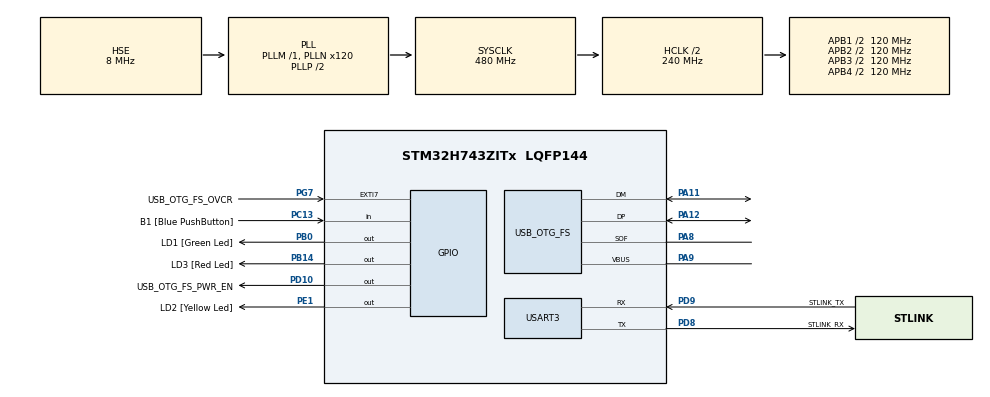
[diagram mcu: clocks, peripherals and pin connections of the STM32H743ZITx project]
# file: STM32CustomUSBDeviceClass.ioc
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FREERTOS.Tasks01=defaultTask,24,256,StartDefaultTask,Default,NULL,Dynamic,NULL,NULL;invertAsciiTask,40,768,StartInvertAsciiTask,Default,NULL,Dynamic,NULL,NULL
FREERTOS.configENABLE_BACKWARD_COMPATIBILITY=0
Mcu.Family=STM32H7
Mcu.Name=STM32H743ZITx
Mcu.Package=LQFP144
NVIC.OTG_FS_IRQn=true\:5\:0\:false\:false\:true\:true\:true\:true
NVIC.PriorityGroup=NVIC_PRIORITYGROUP_4
NVIC.TIM17_IRQn=true\:0\:0\:false\:false\:true\:false\:false\:true
NVIC.TimeBase=TIM17_IRQn
NVIC.TimeBaseIP=TIM17
PA11.Mode=Device_Only
PA11.Signal=USB_OTG_FS_DM
PA12.Mode=Device_Only
PA12.Signal=USB_OTG_FS_DP
PA13\ (JTMS/SWDIO).Mode=Trace_Asynchronous_SW
PA13\ (JTMS/SWDIO).Signal=DEBUG_JTMS-SWDIO
PA14\ (JTCK/SWCLK).Mode=Trace_Asynchronous_SW
PA14\ (JTCK/SWCLK).Signal=DEBUG_JTCK-SWCLK
PA8.Mode=Activate_SOF_FS
PA8.Signal=USB_OTG_FS_SOF
PA9.Mode=Activate_VBUS
PA9.Signal=USB_OTG_FS_VBUS
PB0.GPIO_Label=LD1 [Green Led]
PB0.Signal=GPIO_Output
PB14.GPIO_Label=LD3 [Red Led]
PB14.Signal=GPIO_Output
PB3\ (JTDO/TRACESWO).Mode=Trace_Asynchronous_SW
PB3\ (JTDO/TRACESWO).Signal=DEBUG_JTDO-SWO
PC13.GPIO_Label=B1 [Blue PushButton]
PC13.Signal=GPIO_Input
PD10.GPIO_Label=USB_OTG_FS_PWR_EN
PD10.Signal=GPIO_Output
PD8.GPIO_Label=STLINK_RX
PD8.Mode=Asynchronous
PD8.Signal=USART3_TX
PD9.GPIO_Label=STLINK_TX
PD9.Mode=Asynchronous
PD9.Signal=USART3_RX
PE1.GPIO_Label=LD2 [Yellow Led]
PE1.Signal=GPIO_Output
PG7.GPIO_Label=USB_OTG_FS_OVCR
PG7.Signal=GPXTI7
PH0-OSC_IN\ (PH0).Mode=HSE-External-Clock-Source
PH0-OSC_IN\ (PH0).Signal=RCC_OSC_IN
PH1-OSC_OUT\ (PH1).Mode=HSE-External-Clock-Source
PH1-OSC_OUT\ (PH1).Signal=RCC_OSC_OUT
ProjectManager.HeapSize=0x200
ProjectManager.StackSize=0x400
ProjectManager.TargetToolchain=STM32CubeIDE
RCC.ADCFreq_Value=16125000
RCC.APB1Freq_Value=120000000
RCC.APB2Freq_Value=120000000
RCC.APB3Freq_Value=120000000
RCC.APB4Freq_Value=120000000
RCC.CortexFreq_Value=480000000
RCC.D1PPRE=RCC_APB3_DIV2
RCC.D2PPRE1=RCC_APB1_DIV2
RCC.D2PPRE2=RCC_APB2_DIV2
RCC.D3PPRE=RCC_APB4_DIV2
RCC.DIVM1=1
RCC.DIVN1=120
RCC.DIVQ1=20
RCC.DIVR1=1
RCC.HCLKFreq_Value=240000000
RCC.HPRE=RCC_HCLK_DIV2
RCC.HSE_VALUE=8000000
RCC.PLLFRACN=0
RCC.SYSCLKFreq_VALUE=480000000
RCC.SYSCLKSource=RCC_SYSCLKSOURCE_PLLCLK
RCC.USBFreq_Value=48000000
USART3.VirtualMode-Asynchronous=VM_ASYNC
USB_OTG_FS.VirtualMode=Device_Only
VP_FREERTOS_VS_CMSIS_V2.Mode=CMSIS_V2
VP_SYS_VS_tim17.Mode=TIM17
board=NUCLEO-H743ZI2

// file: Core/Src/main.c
/* USER CODE BEGIN Header */
/**
 ******************************************************************************
 * @file           : main.c
 * @brief          : Main program body
 ******************************************************************************
 * @attention
 *
 * <h2><center>&copy; Copyright (c) 2019 STMicroelectronics.
 * All rights reserved.</center></h2>
 *
 * This software component is licensed by ST under Ultimate Liberty license
 * SLA0044, the "License"; You may not use this file except in compliance with
 * the License. You may obtain a copy of the License at:
 *                             www.st.com/SLA0044
 *
 ******************************************************************************
 */
/* USER CODE END Header */

#include "main.h"
#include "cmsis_os.h"

/* USER CODE BEGIN Includes */
#include "stream_buffer.h"
#include "usbd_core.h"
#include "usbd_desc.h"
#include "usbd_class.h"
/* USER CODE END Includes */

UART_HandleTypeDef huart3;

PCD_HandleTypeDef hpcd_USB_OTG_FS;

osThreadId_t defaultTaskHandle;
osThreadId_t invertAsciiTaskHandle;
/* USER CODE BEGIN PV */
USBD_HandleTypeDef hUsbDeviceFS;
StreamBufferHandle_t xStreamBuffer = NULL;
/* USER CODE END PV */

void SystemClock_Config(void);
static void MX_GPIO_Init(void);
static void MX_USART3_UART_Init(void);
static void MX_USB_OTG_FS_PCD_Init(void);
void StartDefaultTask(void *argument);
void StartInvertAsciiTask(void *argument);

/* USER CODE BEGIN 0 */
static void invert_case(uint8_t* buf, size_t len)
{
  for (size_t i = 0; i < len; ++i)
  {
    char const c = *buf;
    if (c >= 'A' && c <= 'Z')
      *buf = c + ('a' - 'A');
    else if (c >= 'a' && c <= 'z')
      *buf = c - ('a' - 'A');
    buf++;
  }
}
/* USER CODE END 0 */

int main(void)
{

  /* MCU Configuration--------------------------------------------------------*/

  /* Reset of all peripherals, Initializes the Flash interface and the Systick. */
  HAL_Init();

  /* Configure the system clock */
  SystemClock_Config();

  /* Initialize all configured peripherals */
  MX_GPIO_Init();
  MX_USART3_UART_Init();
  MX_USB_OTG_FS_PCD_Init();
  /* USER CODE BEGIN 2 */
  USBD_Init(&hUsbDeviceFS, &Class_Desc, 0);
  USBD_RegisterClass(&hUsbDeviceFS, &USBD_TEMPLATE_ClassDriver);
  USBD_Start(&hUsbDeviceFS);
  /* USER CODE END 2 */

  osKernelInitialize();

  /* USER CODE BEGIN RTOS_QUEUES */
  xStreamBuffer = xStreamBufferCreate(512, 1);
  /* USER CODE END RTOS_QUEUES */

  /* Create the thread(s) */
  /* definition and creation of defaultTask */
  const osThreadAttr_t defaultTask_attributes = {
    .name = "defaultTask",
    .priority = (osPriority_t) osPriorityNormal,
    .stack_size = 256
  };
  defaultTaskHandle = osThreadNew(StartDefaultTask, NULL, &defaultTask_attributes);

  /* definition and creation of invertAsciiTask */
  const osThreadAttr_t invertAsciiTask_attributes = {
    .name = "invertAsciiTask",
    .priority = (osPriority_t) osPriorityHigh,
    .stack_size = 768
  };
  invertAsciiTaskHandle = osThreadNew(StartInvertAsciiTask, NULL, &invertAsciiTask_attributes);

  /* Start scheduler */
  osKernelStart();

  /* We should never get here as control is now taken by the scheduler */

  /* Infinite loop */
  while (1)
  {

  }
}

void SystemClock_Config(void)
{
  RCC_OscInitTypeDef RCC_OscInitStruct = {0};
  RCC_ClkInitTypeDef RCC_ClkInitStruct = {0};
  RCC_PeriphCLKInitTypeDef PeriphClkInitStruct = {0};

  /** Supply configuration update enable
   */
  HAL_PWREx_ConfigSupply(PWR_LDO_SUPPLY);
  /** Configure the main internal regulator output voltage
   */
  __HAL_PWR_VOLTAGESCALING_CONFIG(PWR_REGULATOR_VOLTAGE_SCALE0);

  while (!__HAL_PWR_GET_FLAG(PWR_FLAG_VOSRDY))
  {
  }
  /** Initializes the CPU, AHB and APB busses clocks
   */
  RCC_OscInitStruct.OscillatorType = RCC_OSCILLATORTYPE_HSE;
  RCC_OscInitStruct.HSEState = RCC_HSE_BYPASS;
  RCC_OscInitStruct.PLL.PLLState = RCC_PLL_ON;
  RCC_OscInitStruct.PLL.PLLSource = RCC_PLLSOURCE_HSE;
  RCC_OscInitStruct.PLL.PLLM = 1;
  RCC_OscInitStruct.PLL.PLLN = 120;
  RCC_OscInitStruct.PLL.PLLP = 2;
  RCC_OscInitStruct.PLL.PLLQ = 20;
  RCC_OscInitStruct.PLL.PLLR = 1;
  RCC_OscInitStruct.PLL.PLLRGE = RCC_PLL1VCIRANGE_3;
  RCC_OscInitStruct.PLL.PLLVCOSEL = RCC_PLL1VCOWIDE;
  RCC_OscInitStruct.PLL.PLLFRACN = 0;
  if (HAL_RCC_OscConfig(&RCC_OscInitStruct) != HAL_OK)
  {
    Error_Handler();
  }
  /** Initializes the CPU, AHB and APB busses clocks
   */
  RCC_ClkInitStruct.ClockType = RCC_CLOCKTYPE_HCLK | RCC_CLOCKTYPE_SYSCLK | RCC_CLOCKTYPE_PCLK1 | RCC_CLOCKTYPE_PCLK2 | RCC_CLOCKTYPE_D3PCLK1 | RCC_CLOCKTYPE_D1PCLK1;
  RCC_ClkInitStruct.SYSCLKSource = RCC_SYSCLKSOURCE_PLLCLK;
  RCC_ClkInitStruct.SYSCLKDivider = RCC_SYSCLK_DIV1;
  RCC_ClkInitStruct.AHBCLKDivider = RCC_HCLK_DIV2;
  RCC_ClkInitStruct.APB3CLKDivider = RCC_APB3_DIV2;
  RCC_ClkInitStruct.APB1CLKDivider = RCC_APB1_DIV2;
  RCC_ClkInitStruct.APB2CLKDivider = RCC_APB2_DIV2;
  RCC_ClkInitStruct.APB4CLKDivider = RCC_APB4_DIV2;

  if (HAL_RCC_ClockConfig(&RCC_ClkInitStruct, FLASH_LATENCY_4) != HAL_OK)
  {
    Error_Handler();
  }
  PeriphClkInitStruct.PeriphClockSelection = RCC_PERIPHCLK_USART3 | RCC_PERIPHCLK_USB;
  PeriphClkInitStruct.Usart234578ClockSelection = RCC_USART234578CLKSOURCE_D2PCLK1;
  PeriphClkInitStruct.UsbClockSelection = RCC_USBCLKSOURCE_PLL;
  if (HAL_RCCEx_PeriphCLKConfig(&PeriphClkInitStruct) != HAL_OK)
  {
    Error_Handler();
  }
  /** Enable USB Voltage detector
   */
  HAL_PWREx_EnableUSBVoltageDetector();
}

static void MX_USART3_UART_Init(void)
{

  huart3.Instance = USART3;
  huart3.Init.BaudRate = 115200;
  huart3.Init.WordLength = UART_WORDLENGTH_8B;
  huart3.Init.StopBits = UART_STOPBITS_1;
  huart3.Init.Parity = UART_PARITY_NONE;
  huart3.Init.Mode = UART_MODE_TX_RX;
  huart3.Init.HwFlowCtl = UART_HWCONTROL_NONE;
  huart3.Init.OverSampling = UART_OVERSAMPLING_16;
  huart3.Init.OneBitSampling = UART_ONE_BIT_SAMPLE_DISABLE;
  huart3.Init.ClockPrescaler = UART_PRESCALER_DIV1;
  huart3.AdvancedInit.AdvFeatureInit = UART_ADVFEATURE_NO_INIT;
  if (HAL_UART_Init(&huart3) != HAL_OK)
  {
    Error_Handler();
  }
  if (HAL_UARTEx_SetTxFifoThreshold(&huart3, UART_TXFIFO_THRESHOLD_1_8) != HAL_OK)
  {
    Error_Handler();
  }
  if (HAL_UARTEx_SetRxFifoThreshold(&huart3, UART_RXFIFO_THRESHOLD_1_8) != HAL_OK)
  {
    Error_Handler();
  }
  if (HAL_UARTEx_DisableFifoMode(&huart3) != HAL_OK)
  {
    Error_Handler();
  }
}

static void MX_USB_OTG_FS_PCD_Init(void)
{

  hpcd_USB_OTG_FS.Instance = USB_OTG_FS;
  hpcd_USB_OTG_FS.Init.dev_endpoints = 9;
  hpcd_USB_OTG_FS.Init.speed = PCD_SPEED_FULL;
  hpcd_USB_OTG_FS.Init.dma_enable = DISABLE;
  hpcd_USB_OTG_FS.Init.phy_itface = PCD_PHY_EMBEDDED;
  hpcd_USB_OTG_FS.Init.Sof_enable = ENABLE;
  hpcd_USB_OTG_FS.Init.low_power_enable = DISABLE;
  hpcd_USB_OTG_FS.Init.lpm_enable = DISABLE;
  hpcd_USB_OTG_FS.Init.battery_charging_enable = ENABLE;
  hpcd_USB_OTG_FS.Init.vbus_sensing_enable = ENABLE;
  hpcd_USB_OTG_FS.Init.use_dedicated_ep1 = DISABLE;
  if (HAL_PCD_Init(&hpcd_USB_OTG_FS) != HAL_OK)
  {
    Error_Handler();
  }
}

static void MX_GPIO_Init(void)
{
  GPIO_InitTypeDef GPIO_InitStruct = {0};

  /* GPIO Ports Clock Enable */
  __HAL_RCC_GPIOC_CLK_ENABLE();
  __HAL_RCC_GPIOH_CLK_ENABLE();
  __HAL_RCC_GPIOB_CLK_ENABLE();
  __HAL_RCC_GPIOD_CLK_ENABLE();
  __HAL_RCC_GPIOG_CLK_ENABLE();
  __HAL_RCC_GPIOA_CLK_ENABLE();
  __HAL_RCC_GPIOE_CLK_ENABLE();

  /*Configure GPIO pin Output Level */
  HAL_GPIO_WritePin(GPIOB, LD1_Pin | LD3_Pin, GPIO_PIN_RESET);

  /*Configure GPIO pin Output Level */
  HAL_GPIO_WritePin(USB_OTG_FS_PWR_EN_GPIO_Port, USB_OTG_FS_PWR_EN_Pin, GPIO_PIN_RESET);

  /*Configure GPIO pin Output Level */
  HAL_GPIO_WritePin(LD2_GPIO_Port, LD2_Pin, GPIO_PIN_RESET);

  /*Configure GPIO pin : B1_Pin */
  GPIO_InitStruct.Pin = B1_Pin;
  GPIO_InitStruct.Mode = GPIO_MODE_INPUT;
  GPIO_InitStruct.Pull = GPIO_NOPULL;
  HAL_GPIO_Init(B1_GPIO_Port, &GPIO_InitStruct);

  /*Configure GPIO pins : LD1_Pin LD3_Pin */
  GPIO_InitStruct.Pin = LD1_Pin | LD3_Pin;
  GPIO_InitStruct.Mode = GPIO_MODE_OUTPUT_PP;
  GPIO_InitStruct.Pull = GPIO_NOPULL;
  GPIO_InitStruct.Speed = GPIO_SPEED_FREQ_LOW;
  HAL_GPIO_Init(GPIOB, &GPIO_InitStruct);

  /*Configure GPIO pin : USB_OTG_FS_PWR_EN_Pin */
  GPIO_InitStruct.Pin = USB_OTG_FS_PWR_EN_Pin;
  GPIO_InitStruct.Mode = GPIO_MODE_OUTPUT_PP;
  GPIO_InitStruct.Pull = GPIO_NOPULL;
  GPIO_InitStruct.Speed = GPIO_SPEED_FREQ_LOW;
  HAL_GPIO_Init(USB_OTG_FS_PWR_EN_GPIO_Port, &GPIO_InitStruct);

  /*Configure GPIO pin : USB_OTG_FS_OVCR_Pin */
  GPIO_InitStruct.Pin = USB_OTG_FS_OVCR_Pin;
  GPIO_InitStruct.Mode = GPIO_MODE_IT_RISING;
  GPIO_InitStruct.Pull = GPIO_NOPULL;
  HAL_GPIO_Init(USB_OTG_FS_OVCR_GPIO_Port, &GPIO_InitStruct);

  /*Configure GPIO pin : LD2_Pin */
  GPIO_InitStruct.Pin = LD2_Pin;
  GPIO_InitStruct.Mode = GPIO_MODE_OUTPUT_PP;
  GPIO_InitStruct.Pull = GPIO_NOPULL;
  GPIO_InitStruct.Speed = GPIO_SPEED_FREQ_LOW;
  HAL_GPIO_Init(LD2_GPIO_Port, &GPIO_InitStruct);
}

void StartDefaultTask(void *argument)
{
  /* USER CODE BEGIN 5 */
  /* Infinite loop */
  for (;;)
  {
    osDelay(1000);
    HAL_UART_Transmit(&huart3, "STM32CustomUSBDeviceClass\n", 26, 1000);
    HAL_GPIO_TogglePin(LD1_GPIO_Port, LD1_Pin);
    HAL_GPIO_TogglePin(LD2_GPIO_Port, LD2_Pin);
    HAL_GPIO_TogglePin(LD3_GPIO_Port, LD3_Pin);
  }
  /* USER CODE END 5 */
}

void StartInvertAsciiTask(void *argument)
{
  /* USER CODE BEGIN StartInvertAsciiTask */
  uint8_t buffer[512];
  /* Infinite loop */
  for(;;)
  {
    size_t count = xStreamBufferReceive(xStreamBuffer, buffer, 512, 2);
    if(!count)
      continue;

    invert_case(buffer, count);

    for(;;)
    {
      uint8_t status = USBD_TEMPLATE_Transmit(&hUsbDeviceFS, buffer, count);
      if (status == USBD_OK)
        break;
      osDelay(2);
    }
  }
  /* USER CODE END StartInvertAsciiTask */
}

void HAL_TIM_PeriodElapsedCallback(TIM_HandleTypeDef *htim)
{
  if (htim->Instance == TIM17)
  {
    HAL_IncTick();
  }
}

void Error_Handler(void)
{
}

/************************ (C) COPYRIGHT STMicroelectronics *****END OF FILE****/
